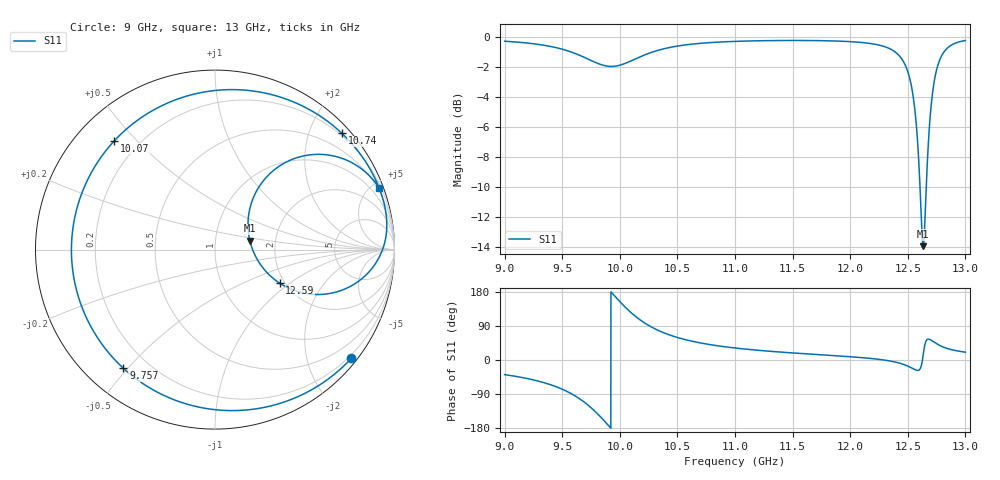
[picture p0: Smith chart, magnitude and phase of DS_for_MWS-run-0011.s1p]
! TOUCHSTONE file generated by CST DESIGN STUDIO
! Date and time: Tue Feb  4 17:39:28 2025
! Project name: C:\Work\MatlabApps\UnitCellOptimizationMatlab\CST\unitcell.cst
! Tree item: Tasks\Sweep1\SPara1\S-Parameters
! Header version: 2024
! Port assignment regex: !\s*Touchstone port\s*([0-9]+)\s*=\s*(CST MWS port|CST DES external port|CST DES block port)\s*(.+)\s* \(\"(.*)\"\)(\s*mode\s*([0-9]+))?.*
! Touchstone port assignment:
! Touchstone port 1 = CST DES external port 1 ("")
# GHz S MA R 50
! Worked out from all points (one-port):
!   4001 points, 9 GHz to 13 GHz, reference 50 ohm
!   lowest |S11| = -14.0 dB at 12.63 GHz (marker M1), VSWR 1.50, Z = 73.6 + j7.6 ohm
!   |S11| at or under -10 dB: 12.60613 GHz to 12.66022 GHz (54.1 MHz wide, 0.428 % of centre)
!   S11 on the Smith chart (normalised r, x): 9 GHz: 0.13, -2.85; 9.757 GHz: 0.11, -0.49; 10.07 GHz: 0.11, +0.43; 10.74 GHz: 0.16, +2.56; 12.59 GHz: 1.88, -0.84; 13 GHz: 0.36, +5.46
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9  0.9715 -38.6
9.282  0.9492 -54.9
9.5  0.9136 -77.1
9.643  0.8744 -100.7
9.757  0.8353 -127.6
9.886  0.8024 -167.5
9.942  0.8003 173.5
10  0.8075 154.2
10.07  0.8259 132.7
10.15  0.8526 111.8
10.239  0.8812 93.3
10.365  0.9129 73.9
10.5  0.9358 59.4
10.745  0.9588 42.5
11  0.9702 31.7
11.5  0.9771 18.6
12  0.9683 8.6
12.346  0.916 -2.6
12.5  0.7683 -16.1
12.554  0.6057 -24.3
12.592  0.4059 -27.4
12.619  0.2414 -13.0
12.634  0.2004 14.3
12.648  0.2409 40.2
12.687  0.4994 54.6
12.735  0.7333 45.8
12.837  0.9162 30.9
13  0.977 20.7
